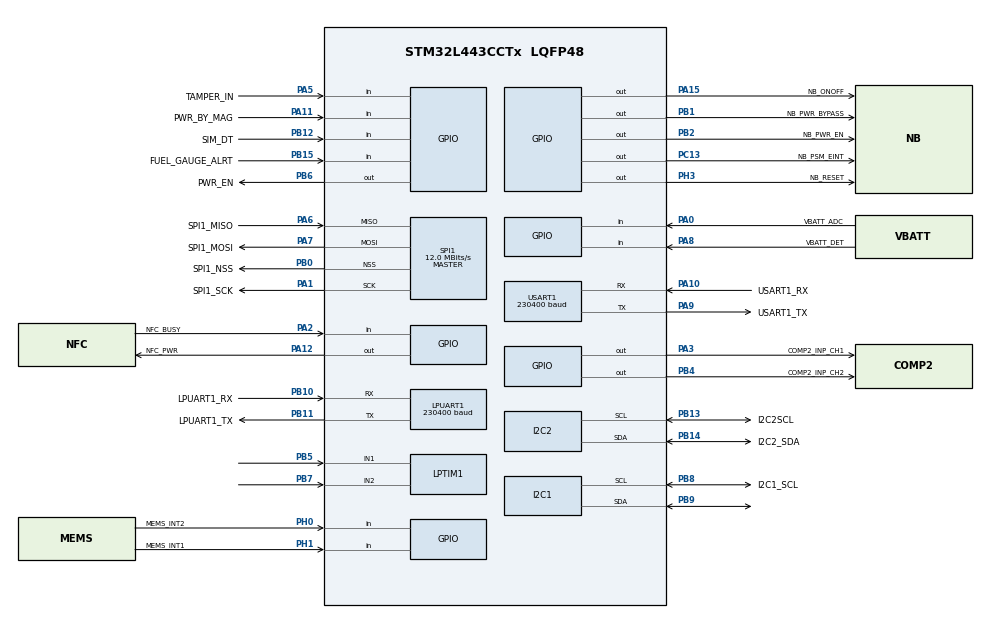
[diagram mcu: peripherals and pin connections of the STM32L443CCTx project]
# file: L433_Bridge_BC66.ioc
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Dma.LPUART_RX.0.Direction=DMA_PERIPH_TO_MEMORY
Dma.LPUART_RX.0.Instance=DMA2_Channel7
Dma.LPUART_RX.0.MemDataAlignment=DMA_MDATAALIGN_BYTE
Dma.LPUART_RX.0.MemInc=DMA_MINC_ENABLE
Dma.LPUART_RX.0.Mode=DMA_NORMAL
Dma.LPUART_RX.0.PeriphDataAlignment=DMA_PDATAALIGN_BYTE
Dma.LPUART_RX.0.PeriphInc=DMA_PINC_DISABLE
Dma.LPUART_RX.0.Priority=DMA_PRIORITY_LOW
Dma.LPUART_TX.1.Direction=DMA_MEMORY_TO_PERIPH
Dma.LPUART_TX.1.Instance=DMA2_Channel6
Dma.LPUART_TX.1.MemDataAlignment=DMA_MDATAALIGN_BYTE
Dma.LPUART_TX.1.MemInc=DMA_MINC_ENABLE
Dma.LPUART_TX.1.Mode=DMA_NORMAL
Dma.LPUART_TX.1.PeriphDataAlignment=DMA_PDATAALIGN_BYTE
Dma.LPUART_TX.1.PeriphInc=DMA_PINC_DISABLE
Dma.LPUART_TX.1.Priority=DMA_PRIORITY_LOW
Dma.Request0=LPUART_RX
Dma.Request1=LPUART_TX
I2C1.Timing=0x00805C87
I2C2.Timing=0x00805C87
LPUART1.BaudRate=230400
LPUART1.WordLength=UART_WORDLENGTH_8B
Mcu.Family=STM32L4
Mcu.Name=STM32L443CCTx
Mcu.Package=LQFP48
NVIC.DMA2_Channel6_IRQn=true\:0\:0\:false\:false\:true\:false\:true\:true
NVIC.DMA2_Channel7_IRQn=true\:0\:0\:false\:false\:true\:false\:true\:true
NVIC.LPTIM1_IRQn=true\:0\:0\:false\:false\:true\:true\:true\:true
NVIC.PriorityGroup=NVIC_PRIORITYGROUP_4
NVIC.RTC_Alarm_IRQn=true\:0\:0\:false\:false\:true\:true\:true\:true
NVIC.TIM1_UP_TIM16_IRQn=true\:15\:0\:false\:false\:true\:false\:true\:true
NVIC.TimeBase=TIM1_UP_TIM16_IRQn
NVIC.TimeBaseIP=TIM1
NVIC.USART1_IRQn=true\:0\:0\:false\:false\:true\:true\:true\:true
PA0.GPIO_Label=VBATT_ADC
PA0.Signal=GPIO_Input
PA1.GPIO_Label=SPI1_SCK
PA1.Mode=Full_Duplex_Master
PA1.Signal=SPI1_SCK
PA10.GPIO_Label=USART1_RX
PA10.Mode=Asynchronous
PA10.Signal=USART1_RX
PA11.GPIO_Label=PWR_BY_MAG
PA11.Signal=GPIO_Input
PA12.GPIO_Label=NFC_PWR
PA12.Signal=GPIO_Output
PA13\ (JTMS-SWDIO).Mode=Serial_Wire
PA13\ (JTMS-SWDIO).Signal=SYS_JTMS-SWDIO
PA14\ (JTCK-SWCLK).Mode=Serial_Wire
PA14\ (JTCK-SWCLK).Signal=SYS_JTCK-SWCLK
PA15\ (JTDI).GPIO_Label=NB_ONOFF
PA15\ (JTDI).Signal=GPIO_Output
PA2.GPIO_Label=NFC_BUSY
PA2.Signal=GPIO_Input
PA3.GPIO_Label=COMP2_INP_CH1
PA3.Signal=GPIO_Output
PA5.GPIO_Label=TAMPER_IN
PA5.Signal=GPIO_Input
PA6.GPIO_Label=SPI1_MISO
PA6.Mode=Full_Duplex_Master
PA6.Signal=SPI1_MISO
PA7.GPIO_Label=SPI1_MOSI
PA7.Mode=Full_Duplex_Master
PA7.Signal=SPI1_MOSI
PA8.GPIO_Label=VBATT_DET
PA8.Signal=GPIO_Input
PA9.GPIO_Label=USART1_TX
PA9.Mode=Asynchronous
PA9.Signal=USART1_TX
PB0.GPIO_Label=SPI1_NSS
PB0.Mode=NSS_Signal_Hard_Output
PB0.Signal=SPI1_NSS
PB1.GPIO_Label=NB_PWR_BYPASS
PB1.Signal=GPIO_Output
PB10.GPIO_Label=LPUART1_RX
PB10.Mode=Asynchronous
PB10.Signal=LPUART1_RX
PB11.GPIO_Label=LPUART1_TX
PB11.Mode=Asynchronous
PB11.Signal=LPUART1_TX
PB12.GPIO_Label=SIM_DT
PB12.Signal=GPIO_Input
PB13.GPIO_Label=I2C2SCL
PB13.Mode=I2C
PB13.Signal=I2C2_SCL
PB14.GPIO_Label=I2C2_SDA
PB14.Mode=I2C
PB14.Signal=I2C2_SDA
PB15.GPIO_Label=FUEL_GAUGE_ALRT
PB15.Signal=GPIO_Input
PB2.GPIO_Label=NB_PWR_EN
PB2.Signal=GPIO_Output
PB4\ (NJTRST).GPIO_Label=COMP2_INP_CH2
PB4\ (NJTRST).Signal=GPIO_Output
PB5.Mode=Encoder_mode_occur1
PB5.Signal=LPTIM1_IN1
PB6.GPIO_Label=PWR_EN
PB6.Signal=GPIO_Output
PB7.Mode=Encoder_mode_occur1
PB7.Signal=LPTIM1_IN2
PB8.GPIO_Label=I2C1_SCL
PB8.Mode=I2C
PB8.Signal=I2C1_SCL
PB9.Mode=I2C
PB9.Signal=I2C1_SDA
PC13.GPIO_Label=NB_PSM_EINT
PC13.Signal=GPIO_Output
PC14-OSC32_IN\ (PC14).Mode=LSE-External-Oscillator
PC14-OSC32_IN\ (PC14).Signal=RCC_OSC32_IN
PC15-OSC32_OUT\ (PC15).Mode=LSE-External-Oscillator
PC15-OSC32_OUT\ (PC15).Signal=RCC_OSC32_OUT
PH0-OSC_IN\ (PH0).GPIO_Label=MEMS_INT2
PH0-OSC_IN\ (PH0).Signal=GPIO_Input
PH1-OSC_OUT\ (PH1).GPIO_Label=MEMS_INT1
PH1-OSC_OUT\ (PH1).Signal=GPIO_Input
PH3-BOOT0.GPIO_Label=NB_RESET
PH3-BOOT0.Signal=GPIO_Output
ProjectManager.HeapSize=0x200
ProjectManager.StackSize=0x400
ProjectManager.TargetToolchain=STM32CubeIDE
RCC.ADCFreq_Value=96000000
RCC.AHBFreq_Value=24000000
RCC.APB1Freq_Value=24000000
RCC.APB1TimFreq_Value=24000000
RCC.APB2Freq_Value=24000000
RCC.APB2TimFreq_Value=24000000
RCC.CortexFreq_Value=24000000
RCC.HCLKFreq_Value=24000000
RCC.HSE_VALUE=8000000
RCC.HSI48_VALUE=48000000
RCC.HSI_VALUE=16000000
RCC.MSIClockRange=RCC_MSIRANGE_9
RCC.MSI_VALUE=24000000
RCC.RTCClockSelection=RCC_RTCCLKSOURCE_LSE
RCC.SYSCLKFreq_VALUE=24000000
RCC.USBFreq_Value=96000000
RCC.VCOOutputFreq_Value=192000000
RTC.Alarm-Alarm\ A=RTC_ALARM_A
SPI1.CalculateBaudRate=12.0 MBits/s
SPI1.DataSize=SPI_DATASIZE_8BIT
SPI1.Direction=SPI_DIRECTION_2LINES
SPI1.Mode=SPI_MODE_MASTER
SPI1.NSSPMode=SPI_NSS_PULSE_DISABLE
SPI1.VirtualNSS=VM_NSSHARD
SPI1.VirtualType=VM_MASTER
USART1.BaudRate=230400
USART1.VirtualMode-Asynchronous=VM_ASYNC
VP_CRC_VS_CRC.Mode=CRC_Activate
VP_RTC_VS_RTC_Activate.Mode=RTC_Enabled
VP_RTC_VS_RTC_Alarm_A_Intern.Mode=Alarm A
VP_RTC_VS_RTC_Calendar.Mode=RTC_Calendar
VP_SYS_VS_tim1.Mode=TIM1
board=custom

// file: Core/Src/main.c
/* USER CODE BEGIN Header */
/**
  ******************************************************************************
  * @file           : main.c
  * @brief          : Main program body
  ******************************************************************************
  * @attention
  *
  * Copyright (c) 2025 STMicroelectronics.
  * All rights reserved.
  *
  * This software is licensed under terms that can be found in the LICENSE file
  * in the root directory of this software component.
  * If no LICENSE file comes with this software, it is provided AS-IS.
  *
  ******************************************************************************
  */
/* USER CODE END Header */
#include "main.h"
#include "crc.h"
#include "dma.h"
#include "i2c.h"
#include "lptim.h"
#include "usart.h"
#include "rtc.h"
#include "spi.h"
#include "gpio.h"

/* USER CODE BEGIN Includes */
#include "ioctrl.h"
#include "serial _bridge.h"
/* USER CODE END Includes */

void SystemClock_Config(void);

int main(void)
{

  /* MCU Configuration--------------------------------------------------------*/

  /* Reset of all peripherals, Initializes the Flash interface and the Systick. */
  HAL_Init();

  /* Configure the system clock */
  SystemClock_Config();

  /* Initialize all configured peripherals */
  MX_GPIO_Init();
  MX_DMA_Init();
  MX_LPTIM1_Init();
  MX_I2C1_Init();
  MX_I2C2_Init();
  MX_LPUART1_UART_Init();
  MX_USART1_UART_Init();
  MX_SPI1_Init();
  MX_RTC_Init();
  MX_CRC_Init();
  /* USER CODE BEGIN 2 */
  IOCTRL_LCGpio1_Enable(ON);
  IOCTRL_LCGpio2_Enable(ON);
  // To latch Main Power
  IOCTRL_MainPower_Enable(ON);

  init_serial_bridge();
  /* USER CODE END 2 */

  /* Infinite loop */
  /* USER CODE BEGIN WHILE */
  while (1)
  {
    serial_bridge_task();
    /* USER CODE END WHILE */

  }
}

void SystemClock_Config(void)
{
  LL_FLASH_SetLatency(LL_FLASH_LATENCY_1);
  while(LL_FLASH_GetLatency()!= LL_FLASH_LATENCY_1)
  {
  }
  LL_PWR_SetRegulVoltageScaling(LL_PWR_REGU_VOLTAGE_SCALE1);
  while (LL_PWR_IsActiveFlag_VOS() != 0)
  {
  }
  LL_RCC_MSI_Enable();

   /* Wait till MSI is ready */
  while(LL_RCC_MSI_IsReady() != 1)
  {

  }
  LL_RCC_MSI_EnableRangeSelection();
  LL_RCC_MSI_SetRange(LL_RCC_MSIRANGE_9);
  LL_RCC_MSI_SetCalibTrimming(0);
  LL_PWR_EnableBkUpAccess();
  LL_RCC_LSE_SetDriveCapability(LL_RCC_LSEDRIVE_LOW);
  LL_RCC_LSE_Enable();

   /* Wait till LSE is ready */
  while(LL_RCC_LSE_IsReady() != 1)
  {

  }
  LL_RCC_MSI_EnablePLLMode();
  LL_RCC_SetSysClkSource(LL_RCC_SYS_CLKSOURCE_MSI);

   /* Wait till System clock is ready */
  while(LL_RCC_GetSysClkSource() != LL_RCC_SYS_CLKSOURCE_STATUS_MSI)
  {

  }
  LL_RCC_SetAHBPrescaler(LL_RCC_SYSCLK_DIV_1);
  LL_RCC_SetAPB1Prescaler(LL_RCC_APB1_DIV_1);
  LL_RCC_SetAPB2Prescaler(LL_RCC_APB2_DIV_1);
  LL_SetSystemCoreClock(24000000);

   /* Update the time base */
  if (HAL_InitTick (TICK_INT_PRIORITY) != HAL_OK)
  {
    Error_Handler();
  }
}

/* USER CODE BEGIN 4 */
#ifdef __GNUC__
  /* With GCC/RAISONANCE, small printf (option LD Linker->Libraries->Small printf\
     set to Yes) calls __io_putchar wherever the standard lib calls putchar. */
  #define PUTCHAR_PROTOTYPE int __io_putchar(int ch)
#else
  #define PUTCHAR_PROTOTYPE int fputc(int ch, FILE *f)
#endif /* __GNUC__ */

PUTCHAR_PROTOTYPE
{
  /* Place your implementation of fputc here */
  HAL_UART_Transmit(&huart1, (uint8_t *)&ch, 1, 10);

  return ch;
}
/* USER CODE END 4 */

void HAL_TIM_PeriodElapsedCallback(TIM_HandleTypeDef *htim)
{
  if (htim->Instance == TIM1)
  {
    HAL_IncTick();
  }
}

void Error_Handler(void)
{
  __disable_irq();
  while (1)
  {
  }
}
